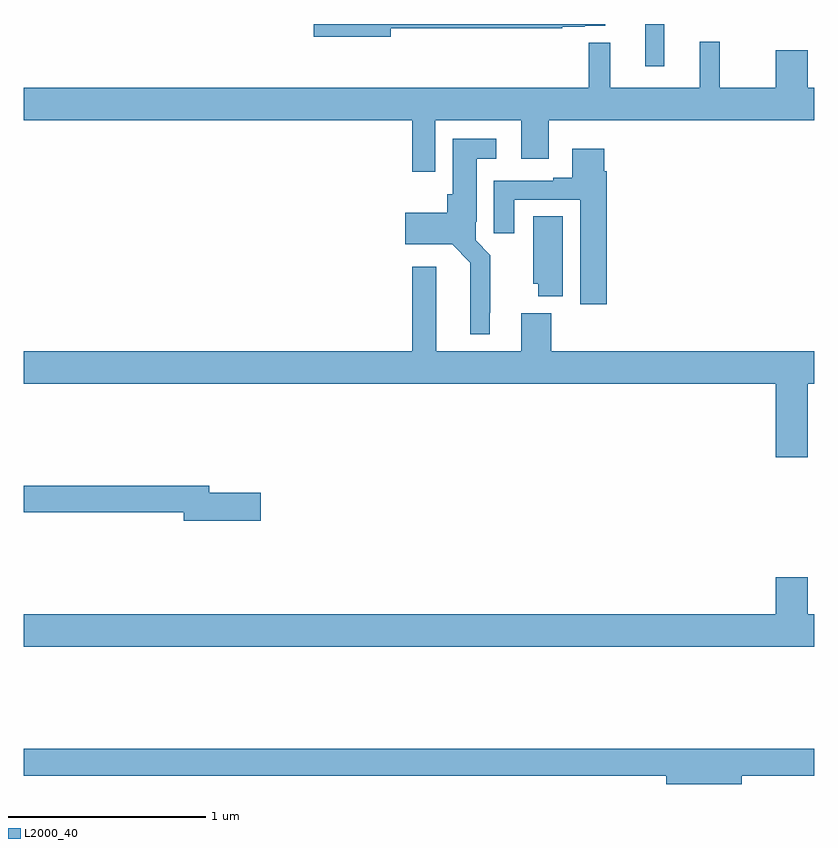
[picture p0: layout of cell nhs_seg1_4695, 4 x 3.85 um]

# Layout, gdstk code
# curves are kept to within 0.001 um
import gdstk
lib = gdstk.Library(unit=1e-6, precision=1e-09)
def R(c, l, rs):  # rectangles x0, y0, x1, y1
    for r in rs: c.add(gdstk.rectangle(r[:2], r[2:], *l))
def P(c, l, *ps):  # polygons
    for p in ps: c.add(gdstk.Polygon(p, *l))
L2000_40 = (2000, 40)

nhs_seg1_4695 = lib.new_cell('nhs_seg1_4695')
R(nhs_seg1_4695, L2000_40, [(368.145,571.986,368.242,572.199)])
P(nhs_seg1_4695, L2000_40, [(366.856,572.178),(367.724,572.178),(367.724,572.184),(367.838,572.184),(367.838,572.19),(367.942,572.19),(367.942,572.199),(366.468,572.199),(366.468,572.135),(366.856,572.135)],
  [(367.083,571.712),(367.517,571.712),(367.517,571.518),(367.657,571.518),(367.657,571.712),(369,571.712),(369,571.876),(368.968,571.876),(368.968,572.065),(368.804,572.065),(368.804,571.876),(368.522,571.876),(368.522,572.11),(368.42,572.11),(368.42,571.876),(367.967,571.876),(367.967,572.105),(367.858,572.105),(367.858,571.876),(365,571.876),(365,571.712),(366.967,571.712),(366.967,571.452),(367.083,571.452)],
  [(367.357,570.739),(367.361,570.739),(367.361,571.03),(367.287,571.104),(367.287,571.198),(367.291,571.198),(367.291,571.517),(367.39,571.517),(367.39,571.618),(367.172,571.618),(367.172,571.338),(367.142,571.338),(367.142,571.243),(366.93,571.243),(366.93,571.085),(367.167,571.085),(367.26,570.992),(367.259,570.629),(367.357,570.629)],
  [(367.949,571.454),(367.936,571.454),(367.936,571.567),(367.775,571.567),(367.775,571.42),(367.679,571.42),(367.679,571.407),(367.379,571.407),(367.379,571.14),(367.483,571.14),(367.483,571.311),(367.817,571.311),(367.817,570.78),(367.949,570.78)],
  [(367.726,571.226),(367.577,571.226),(367.577,570.885),(367.604,570.885),(367.604,570.821),(367.726,570.821)],
  [(368.968,570.38),(369,570.38),(369,570.544),(367.67,570.544),(367.67,570.736),(367.517,570.736),(367.517,570.544),(367.087,570.544),(367.087,570.97),(366.965,570.97),(366.965,570.544),(365,570.544),(365,570.38),(368.804,570.38),(368.804,570.006),(368.968,570.006)],
  [(366.199,569.828),(365.938,569.828),(365.938,569.864),(365,569.864),(365,569.728),(365.81,569.728),(365.81,569.686),(366.199,569.686)],
  [(369,569.212),(368.968,569.212),(368.968,569.401),(368.804,569.401),(368.804,569.212),(365,569.212),(365,569.048),(369,569.048)],
  [(368.632,568.396),(369,568.396),(369,568.532),(365,568.532),(365,568.396),(368.252,568.396),(368.252,568.354),(368.632,568.354)])

lib.write_gds('nhs_seg1_4695.gds')
